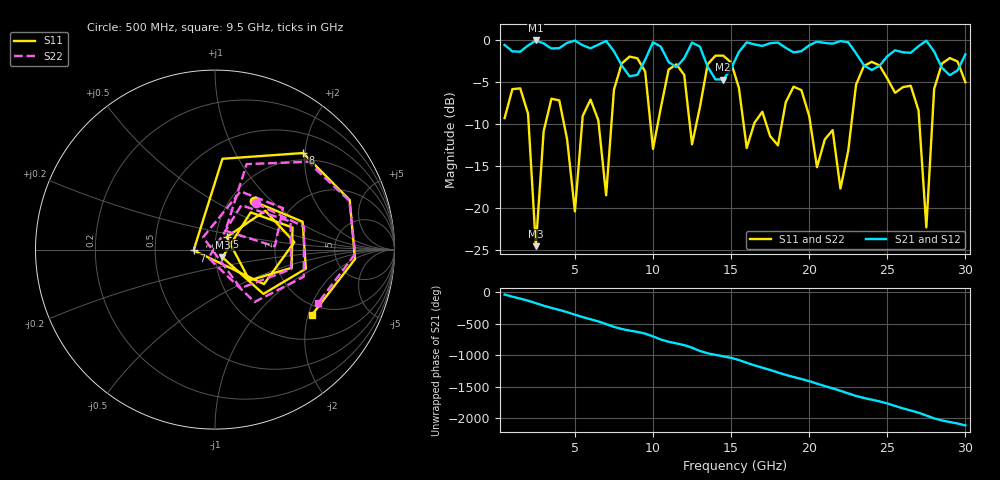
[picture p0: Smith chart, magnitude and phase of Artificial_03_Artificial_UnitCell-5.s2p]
! Touchstone file exported from HFSS 2021.2.0
!  File:  C:/Users/pmena/AData/NRAO/Modelling/HFSS/Artificial/Artificial.aedt
!  Generated:  11:07:24 AM  Mar 20, 2023
!  Design:  03_Artificial_UnitCell-Xs2
!  Project:  Artificial
!  Setup:  Setup1
!  Solution:  Sweep
! Variables:
!  $Tc = 14.7
!  $l0NTN = 314.642654451045nm
!  $l0nm = 314.642654451045
!  $rn = 132
!  L1 = 440um
!  L2 = 884um
!  L3 = 804um
!  L4 = 372um
!  N1 = 110
!  N2 = 221
!  N3 = 201
!  N4 = 93
!  Wl = 35um
!  Wu = 19um
!  Zp = 50ohm
!  g = 1um
!  ha = 140um
!  hd = 140um
!  hp = 70um
!  lH = 1um
!  lL = 1um
!  la = 3140um
!  ld = 3140um
!  lext = 0
!  ll1 = 160um
!  ll2 = 160um
!  ll3 = 320um
!  ls = 3140um
!  lu = 4um
!  nn1 = 40
!  nn2 = 40
!  nn3 = 80
!  nu = 30
!  ts = 60nm
!  wH = 1um
!  wa = 280um
!  wd = 280um
!  wp = 140um
# GHz S MA R 50.000000
! Terminal data exported
! Port[1] = 1
! Port[2] = 2
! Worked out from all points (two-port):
!   60 points, 500 MHz to 30 GHz, reference 50 ohm
!   highest |S21| = -0.02 dB at 2.5 GHz (marker M1); lowest = -4.7 dB at 14.5 GHz (marker M2)
!   |S21| within 3 dB of the highest: start of sweep to 8.007 GHz; 15.09 GHz to 23.54 GHz (8.452 GHz wide, 43.8 % of centre)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
!   lowest |S11| = -24.5 dB at 2.5 GHz (marker M3), VSWR 1.13, Z = 54.1 - j4.65 ohm
!   |S11| at or under -10 dB: 2.04 GHz to 3.107 GHz (1.067 GHz wide, 41.5 % of centre); 4.308 GHz to 5.457 GHz (1.149 GHz wide, 23.5 % of centre); 20.08 GHz to 22.7 GHz (2.618 GHz wide, 12.2 % of centre)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
!   |S22| runs from -24.5 to -1.8 dB; largest |S21 - S12| = 1.9e-13
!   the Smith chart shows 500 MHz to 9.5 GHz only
!   S11 on the Smith chart (normalised r, x): 500 MHz: 1.28, +0.78; 5 GHz: 1.13, +0.16; 7 GHz: 0.79, -0.01; 8 GHz: 0.86, +1.96; 9.5 GHz: 1.68, -2.12
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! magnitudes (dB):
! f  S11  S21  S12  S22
! 500 MHz  -9.3  -0.5  -0.5  -9.3
! 2 GHz  -8.7  -0.6  -0.6  -8.7
! 2.5 GHz  -24.5  0.0  0.0  -24.5
! 3.5 GHz  -7.0  -1.0  -1.0  -7.0
! 5 GHz  -20.4  0.0  0.0  -20.4
! 5.5 GHz  -9.0  -0.6  -0.6  -9.0
! 7 GHz  -18.5  -0.1  -0.1  -18.4
! 8 GHz  -2.8  -3.0  -3.0  -2.9
! 9.5 GHz  -3.7  -2.3  -2.3  -3.8
! 10.5 GHz  -8.1  -0.8  -0.8  -8.1
! 11.5 GHz  -2.9  -3.2  -3.2  -2.9
! 12.5 GHz  -12.4  -0.3  -0.3  -12.4
! 14.5 GHz  -1.8  -4.7  -4.7  -1.8
! 15.5 GHz  -5.7  -1.4  -1.4  -5.7
! 16 GHz  -12.8  -0.2  -0.2  -12.9
! 19.5 GHz  -5.9  -1.3  -1.3  -5.9
! 20.5 GHz  -15.1  -0.2  -0.2  -15.0
! 25.5 GHz  -6.3  -1.2  -1.2  -6.3
! 27 GHz  -8.4  -0.7  -0.7  -8.4
! 27.5 GHz  -22.3  0.0  0.0  -22.5
! 28 GHz  -5.8  -1.3  -1.3  -5.8
! 30 GHz  -5.0  -1.7  -1.7  -5.0
